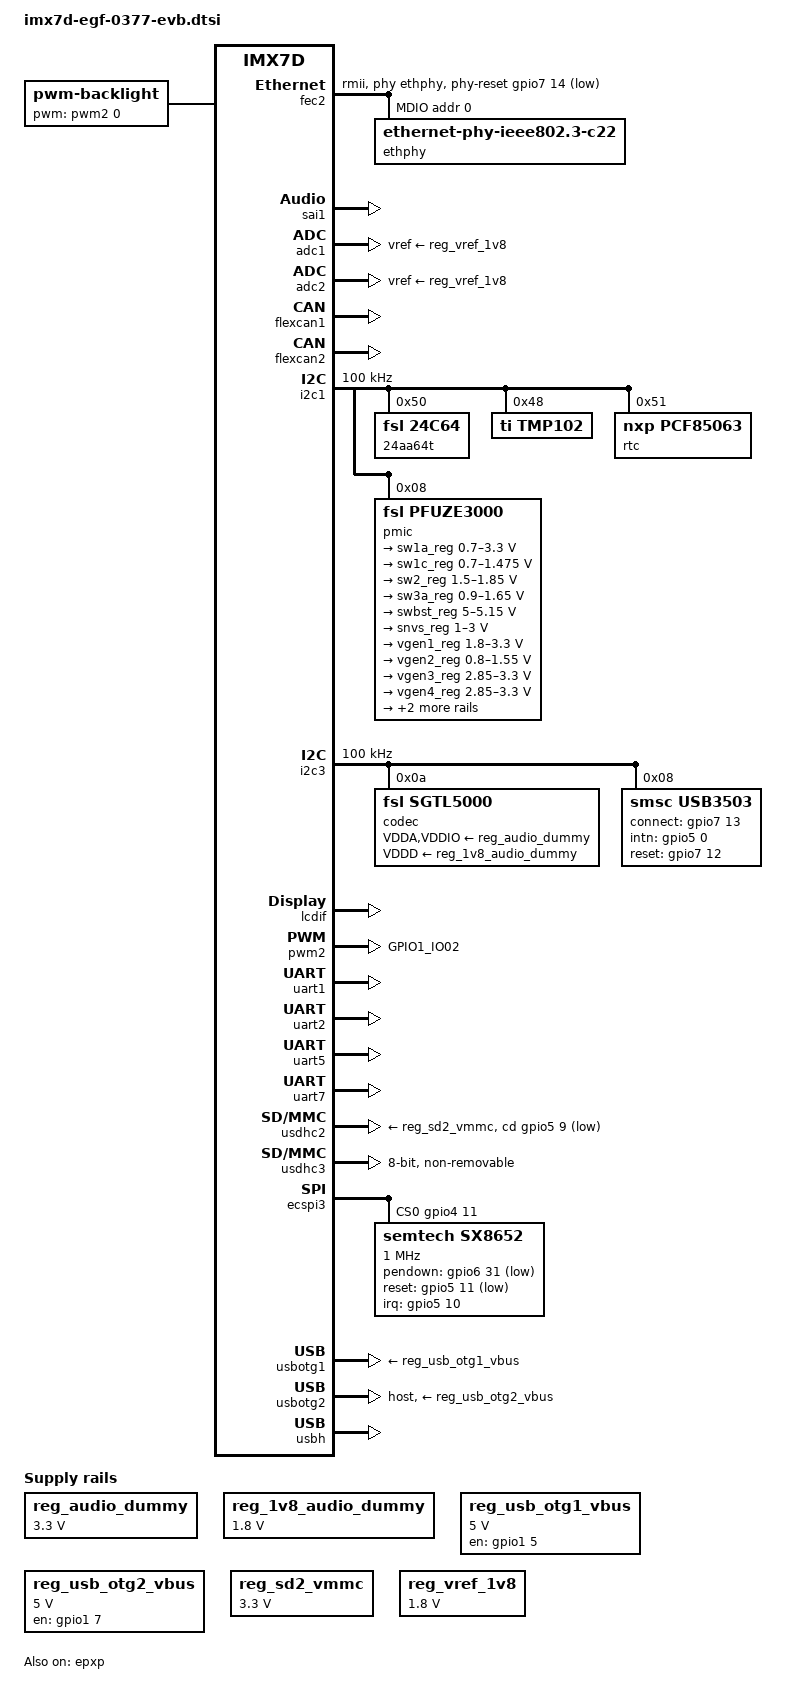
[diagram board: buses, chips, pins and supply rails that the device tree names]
/*
 * Copyright (C) 2015 Freescale Semiconductor, Inc.
 *
 * This program is free software; you can redistribute it and/or modify
 * it under the terms of the GNU General Public License version 2 as
 * published by the Free Software Foundation.
 */

#include <dt-bindings/input/input.h>
#include "imx7d.dtsi"

/ {
	backlight {
		compatible = "pwm-backlight";
		pwms = <&pwm2 0 5000000>;
		brightness-levels = <0 4 8 16 32 64 128 255>;
		default-brightness-level = <6>;
		status = "okay";
	};

	pxp_v4l2_out {
		compatible = "fsl,imx7d-pxp-v4l2", "fsl,imx6sx-pxp-v4l2", "fsl,imx6sl-pxp-v4l2";
		status = "okay";
	};

	regulators {
		compatible = "simple-bus";
		#address-cells = <1>;
		#size-cells = <0>;

		reg_audio_dummy: regulator@0 {
			compatible = "regulator-fixed";
			reg = <0>;
			regulator-name = "audio_vdda_vddio";
			regulator-min-microvolt = <3300000>;
			regulator-max-microvolt = <3300000>;
			regulator-always-on;
		};
		
		reg_1v8_audio_dummy: regulator@1 {
			compatible = "regulator-fixed";
			reg = <1>;
			regulator-name = "audio_vddd";
			regulator-min-microvolt = <1800000>;
			regulator-max-microvolt = <1800000>;
			regulator-always-on;		
		};

		reg_usb_otg1_vbus: regulator@2 {
			compatible = "regulator-fixed";
			reg = <2>;
			regulator-name = "usb_otg1_vbus";
			regulator-min-microvolt = <5000000>;
			regulator-max-microvolt = <5000000>;
			gpio = <&gpio1 5 GPIO_ACTIVE_HIGH>;
			enable-active-high;
		};

		reg_usb_otg2_vbus: regulator@3 {
			compatible = "regulator-fixed";
			reg = <3>;
			regulator-name = "usb_otg2_vbus";
			regulator-min-microvolt = <5000000>;
			regulator-max-microvolt = <5000000>;
			gpio = <&gpio1 7 GPIO_ACTIVE_HIGH>;
			enable-active-high;
		};

		reg_sd2_vmmc: regulator@4 {
			compatible = "regulator-fixed";
			regulator-name = "VDD_SD2";
			regulator-min-microvolt = <3300000>;
			regulator-max-microvolt = <3300000>;
		};

		reg_vref_1v8: regulator@5 {
			compatible = "regulator-fixed";
			reg = <5>;
			regulator-name = "vref-1v8";
			regulator-min-microvolt = <1800000>;
			regulator-max-microvolt = <1800000>;
		};
	};
	
	
	sound {
		compatible = "egf,imx7-egf-sgtl5000",
			     "simple-audio-card";
		simple-audio-card,name = "imx7-egf-sgtl5000-audio";
		simple-audio-card,format = "i2s";
		simple-audio-card,bitclock-master = <&codec_dai>;
		simple-audio-card,frame-master = <&codec_dai>;
		simple-audio-card,widgets =
			"Headphone", "Headphone Jack",
			"Line", "Line In Jack",
			"Microphone", "Mic Jack";
		simple-audio-card,routing =
			"MIC_IN", "Mic Jack",
			"LINE_IN", "Line In Jack",
			"Headphone Jack", "HP_OUT";
		cpu_dai: simple-audio-card,cpu {
			sound-dai = <&sai1>;
		};

		codec_dai: simple-audio-card,codec {
			sound-dai = <&codec>;
		};
	};
};

&fec2 {
	pinctrl-names = "default";
	pinctrl-0 = <>;
	
	clocks = <&clks IMX7D_ENET_AXI_ROOT_CLK>,
			<&clks IMX7D_ENET_AXI_ROOT_CLK>,
			<&clks IMX7D_ENET2_TIME_ROOT_CLK>,
			<&clks IMX7D_PLL_ENET_MAIN_50M_CLK>,
			<&clks IMX7D_ENET2_REF_ROOT_CLK>;
	clock-names = "ipg", "ahb", "ptp",
				"enet_clk_ref", "enet_out";
	assigned-clocks = <&clks IMX7D_ENET2_TIME_ROOT_SRC>,
			  <&clks IMX7D_ENET2_TIME_ROOT_CLK>;
	assigned-clock-parents = <&clks IMX7D_PLL_ENET_MAIN_100M_CLK>;
	assigned-clock-rates = <0>, <100000000>;
	
	phy-mode = "rmii";
	phy-handle = <&ethphy>;
	phy-reset-gpios = <&gpio7 14 0>;
	fsl,magic-packet;
	status = "okay";

	mdio {
		#address-cells = <1>;
		#size-cells = <0>;

		ethphy: ethernet-phy@0 {
			compatible = "ethernet-phy-ieee802.3-c22";
			max-speed = <100>;
			reg = <0>;
		};

	};
};

&sai1 {
	pinctrl-names = "default";
	pinctrl-0 = <>;
	#sound-dai-cells = <0>;
	assigned-clocks = <&clks IMX7D_SAI1_ROOT_SRC>,
			  <&clks IMX7D_SAI1_ROOT_CLK>;
	assigned-clock-parents = <&clks IMX7D_PLL_AUDIO_POST_DIV>;
	assigned-clock-rates = <0>, <36864000>;
	status = "okay";
};

&adc1 {
	vref-supply = <&reg_vref_1v8>;
	status = "okay";
};

&adc2 {
	vref-supply = <&reg_vref_1v8>;
	status = "okay";
};

&cpu0 {
	arm-supply = <&sw1a_reg>;
};

&clks {
	assigned-clocks = <&clks IMX7D_PLL_AUDIO_POST_DIV>;
	assigned-clock-rates = <884736000>;
};

&epxp {
	status = "okay";
};

&flexcan1 {
	status = "okay";
};

&flexcan2 {
	status = "okay";
};

&i2c1 {
	clock-frequency = <100000>;
	pinctrl-names = "default";
	pinctrl-0 = <>;
	status = "okay";
	
	//eeprom factory data (som)
	24aa64t@50 {
		compatible = "fsl,24c64";
		reg = <0x50>;
		pagesize = <32>;
	};
	
	tmp102@0x48 {
		reg = <0x48>;
		compatible = "ti,tmp102";
	};
	
	rtc@51 {
		compatible = "nxp,pcf85063";
		reg = <0x51>;
	};

	pmic: pfuze3000@08 {
		compatible = "fsl,pfuze3000";
		reg = <0x08>;

		regulators {
			sw1a_reg: sw1a {
				regulator-min-microvolt = <700000>;
				regulator-max-microvolt = <3300000>;
				regulator-boot-on;
				regulator-always-on;
				regulator-ramp-delay = <6250>;
			};

			/* use sw1c_reg to align with pfuze100/pfuze200 */
			sw1c_reg: sw1b {
				regulator-min-microvolt = <700000>;
				regulator-max-microvolt = <1475000>;
				regulator-boot-on;
				regulator-always-on;
				regulator-ramp-delay = <6250>;
			};

			sw2_reg: sw2 {
				regulator-min-microvolt = <1500000>;
				regulator-max-microvolt = <1850000>;
				regulator-boot-on;
				regulator-always-on;
			};

			sw3a_reg: sw3 {
				regulator-min-microvolt = <900000>;
				regulator-max-microvolt = <1650000>;
				regulator-boot-on;
				regulator-always-on;
			};

			swbst_reg: swbst {
				regulator-min-microvolt = <5000000>;
				regulator-max-microvolt = <5150000>;
			};

			snvs_reg: vsnvs {
				regulator-min-microvolt = <1000000>;
				regulator-max-microvolt = <3000000>;
				regulator-boot-on;
				regulator-always-on;
			};

			vref_reg: vrefddr {
				regulator-boot-on;
				regulator-always-on;
			};

			vgen1_reg: vldo1 {
				regulator-min-microvolt = <1800000>;
				regulator-max-microvolt = <3300000>;
				regulator-always-on;
			};

			vgen2_reg: vldo2 {
				regulator-min-microvolt = <800000>;
				regulator-max-microvolt = <1550000>;
				regulator-always-on;
			};

			vgen3_reg: vccsd {
				regulator-min-microvolt = <2850000>;
				regulator-max-microvolt = <3300000>;
				regulator-always-on;
			};

			vgen4_reg: v33 {
				regulator-min-microvolt = <2850000>;
				regulator-max-microvolt = <3300000>;
				regulator-always-on;
			};

			vgen5_reg: vldo3 {
				regulator-min-microvolt = <1800000>;
				regulator-max-microvolt = <3300000>;
				regulator-always-on;
			};

			vgen6_reg: vldo4 {
				regulator-min-microvolt = <1800000>;
				regulator-max-microvolt = <3300000>;
				regulator-always-on;
			};
		};
	};
};

&i2c3 {
	clock-frequency = <100000>;
	status = "okay";
	
	codec: sgtl5000@0a {
		#sound-dai-cells = <0>;
		compatible = "fsl,sgtl5000";
		reg = <0x0a>;
		clocks = <&clks IMX7D_AUDIO_MCLK_ROOT_CLK>;
		clock-names = "mclk";
		VDDA-supply = <&reg_audio_dummy>;
		VDDIO-supply = <&reg_audio_dummy>;
		VDDD-supply = <&reg_1v8_audio_dummy>;
	};
	
	usb3503@08 {
			compatible = "smsc,usb3503";
			reg = <0x08>;
			connect-gpios = <&gpio7 13 0>;
			disabled-ports = <>;
			intn-gpios = <&gpio5 0 0>;
			reset-gpios = <&gpio7 12 0>;
			initial-mode = <1>;
		};
};

&iomuxc {
	pinctrl-names = "default";
	pinctrl-0 = <>;

	pinctrl_pwm2: pwm2grp {
			fsl,pins = <
				MX7D_PAD_GPIO1_IO02__PWM2_OUT 		0x1b0b1
			>;
	};
};

&lcdif {
	pinctrl-names = "default";
	pinctrl-0 = <>;
	display = <&display0>;
	status = "okay";

	display0: display {
		bits-per-pixel = <24>;
		bus-width = <24>;
		display-timings {
			native-mode = <&blc1143>;
			blc1143: blc1143 {
			clock-frequency = <33300000>;
			hactive = <800>;
			vactive = <480>;
			hfront-porch = <46>;
			hback-porch = <210>;
			hsync-len = <10>;
			vback-porch = <22>;
			vfront-porch = <23>;
			vsync-len = <10>;
			hsync-active = <0>;
			vsync-active = <0>;
			de-active = <1>;
			pixelclk-active = <0>;
			};
		};
	};
};


&sdma {
	status = "okay";
};

&pwm2 {
	pinctrl-names = "default";
	pinctrl-0 = <&pinctrl_pwm2>;
	status = "okay";
};

&uart1 {
	pinctrl-names = "default";
	pinctrl-0 = <>;
	assigned-clocks = <&clks IMX7D_UART1_ROOT_SRC>;
	assigned-clock-parents = <&clks IMX7D_OSC_24M_CLK>;
	status = "okay";
};

&uart2 {
	pinctrl-names = "default";
	pinctrl-0 = <>;
	assigned-clocks = <&clks IMX7D_UART2_ROOT_SRC>;
	assigned-clock-parents = <&clks IMX7D_PLL_SYS_MAIN_240M_CLK>;
	fsl,uart-has-rtscts;
	status = "okay";
};

&uart5 {
	pinctrl-names = "default";
	pinctrl-0 = <>;
	assigned-clocks = <&clks IMX7D_UART5_ROOT_SRC>;
	assigned-clock-parents = <&clks IMX7D_PLL_SYS_MAIN_240M_CLK>;
	fsl,uart-has-rtscts;
	status = "okay";
};

&uart7 {
	pinctrl-names = "default";
	pinctrl-0 = <>;
	assigned-clocks = <&clks IMX7D_UART7_ROOT_SRC>;
	assigned-clock-parents = <&clks IMX7D_PLL_SYS_MAIN_240M_CLK>;
	status = "okay";
};


&usdhc2 {
	pinctrl-names = "default";
	pinctrl-0 = <>;
	cd-gpios = <&gpio5 9 GPIO_ACTIVE_LOW>;
	vmmc-supply = <&reg_sd2_vmmc>;
	enable-sdio-wakeup;
	keep-power-in-suspend;
	status = "okay";
};

&usdhc3 {
	pinctrl-names = "default";
	pinctrl-0 = <>;
	assigned-clocks = <&clks IMX7D_USDHC3_ROOT_CLK>;
	assigned-clock-rates = <400000000>;
	bus-width = <8>;
	non-removable;
	status = "okay";
};

&wdog1 {
	pinctrl-names = "default";
	pinctrl-0 = <>;
	fsl,wdog_b;
};


&ecspi3 {
	fsl,spi-num-chipselects = <1>;
	cs-gpios = <&gpio4 11 0>;
	pinctrl-names = "default";
	pinctrl-0 = <>;
	status = "okay";

	sx8652@0 {
		compatible = "semtech,sx8652";
		interrupt-parent = <&gpio5>;   //GPIO5_IO10
		interrupts = <10 2>;
		spi-max-frequency = <1000000>;
		reg = <0>;
		x-min = /bits/ 16 <150>;
		x-max = /bits/ 16 <3830>;
		y-min = /bits/ 16 <190>;
		y-max = /bits/ 16 <3830>;
		x-plate-ohms = /bits/ 16 <450>;
		y-plate-ohms = /bits/ 16 <250>;
		pressure-max = /bits/ 16 <500>;
		pendown-gpio = <&gpio6 31 1>;
		reset-gpio = <&gpio5 11 1>;
		debounce-max = /bits/ 16 <10>;
		debounce-tol = /bits/ 16 <200>;
		debounce-rep = /bits/ 16 <1>;
		ts-wires = /bits/ 8 <4>;
	};
};

&usbotg1 {
	vbus-supply = <&reg_usb_otg1_vbus>;
	srp-disable;
	hnp-disable;
	adp-disable;
	status = "okay";
};

&usbotg2 {
	vbus-supply = <&reg_usb_otg2_vbus>;
	dr_mode = "host";
	status = "okay";
};

&usbh {
	status = "okay";
};


